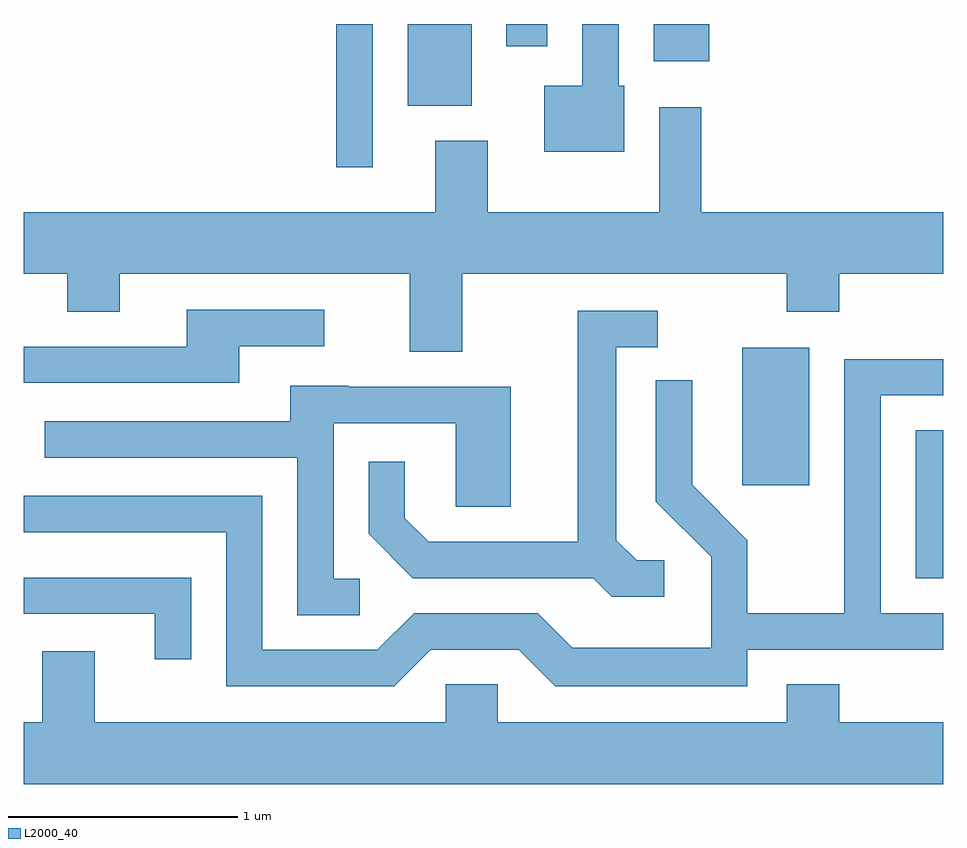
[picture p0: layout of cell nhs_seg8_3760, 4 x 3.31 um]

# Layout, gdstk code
import gdstk
lib = gdstk.Library(unit=1e-6, precision=1e-09)
def R(c, l, rs):  # rectangles x0, y0, x1, y1
    for r in rs: c.add(gdstk.rectangle(r[:2], r[2:], *l))
def P(c, l, *ps):  # polygons
    for p in ps: c.add(gdstk.Polygon(p, *l))
L2000_40 = (2000, 40)

nhs_seg8_3760 = lib.new_cell('nhs_seg8_3760')
R(nhs_seg8_3760, L2000_40, [(301.491,1883.931,301.611,1884.574), (300.736,1884.336,301.029,1884.934), (298.971,1885.718,299.129,1886.342), (299.281,1885.986,299.559,1886.342), (300.351,1886.181,300.594,1886.342), (299.711,1886.246,299.889,1886.342)])
P(nhs_seg8_3760, L2000_40, [(300.224,1886.074),(300.199,1886.074),(300.199,1886.342),(300.041,1886.342),(300.041,1886.074),(299.876,1886.074),(299.876,1885.786),(300.224,1885.786)],
  [(297.611,1885.256),(297.801,1885.256),(297.801,1885.091),(298.029,1885.091),(298.029,1885.256),(299.291,1885.256),(299.291,1884.916),(299.519,1884.916),(299.519,1885.256),(300.931,1885.256),(300.931,1885.091),(301.159,1885.091),(301.159,1885.256),(301.611,1885.256),(301.611,1885.524),(300.559,1885.524),(300.559,1885.979),(300.376,1885.979),(300.376,1885.524),(299.629,1885.524),(299.629,1885.834),(299.401,1885.834),(299.401,1885.524),(297.611,1885.524)],
  [(298.549,1884.941),(298.918,1884.941),(298.918,1885.099),(298.321,1885.099),(298.321,1884.939),(297.611,1884.939),(297.611,1884.781),(298.549,1884.781)],
  [(300.398,1884.009),(300.277,1884.009),(300.189,1884.097),(300.189,1884.936),(300.368,1884.936),(300.368,1885.094),(300.021,1885.094),(300.021,1884.089),(299.372,1884.089),(299.269,1884.192),(299.269,1884.438),(299.111,1884.438),(299.111,1884.124),(299.304,1883.931),(300.089,1883.931),(300.169,1883.851),(300.398,1883.851)],
  [(299.382,1883.621),(299.764,1883.621),(299.924,1883.461),(300.759,1883.461),(300.759,1883.621),(301.611,1883.621),(301.611,1883.779),(301.339,1883.779),(301.339,1884.726),(301.611,1884.726),(301.611,1884.884),(301.181,1884.884),(301.181,1883.779),(300.759,1883.779),(300.759,1884.097),(300.519,1884.337),(300.519,1884.793),(300.361,1884.793),(300.361,1884.264),(300.601,1884.024),(300.601,1883.629),(299.997,1883.629),(299.847,1883.779),(299.309,1883.779),(299.149,1883.619),(298.649,1883.619),(298.649,1884.289),(297.611,1884.289),(297.611,1884.131),(298.491,1884.131),(298.491,1883.461),(299.222,1883.461)],
  [(299.073,1883.929),(298.959,1883.929),(298.959,1884.606),(299.491,1884.606),(299.491,1884.241),(299.729,1884.241),(299.729,1884.764),(299.025,1884.764),(299.025,1884.769),(298.771,1884.769),(298.771,1884.614),(297.703,1884.614),(297.703,1884.456),(298.801,1884.456),(298.801,1883.771),(299.073,1883.771)],
  [(298.339,1883.934),(297.611,1883.934),(297.611,1883.776),(298.181,1883.776),(298.181,1883.578),(298.339,1883.578)],
  [(301.611,1883.304),(301.159,1883.304),(301.159,1883.469),(300.931,1883.469),(300.931,1883.304),(299.674,1883.304),(299.674,1883.469),(299.446,1883.469),(299.446,1883.304),(297.919,1883.304),(297.919,1883.614),(297.691,1883.614),(297.691,1883.304),(297.611,1883.304),(297.611,1883.036),(301.611,1883.036)])

lib.write_gds('nhs_seg8_3760.gds')
